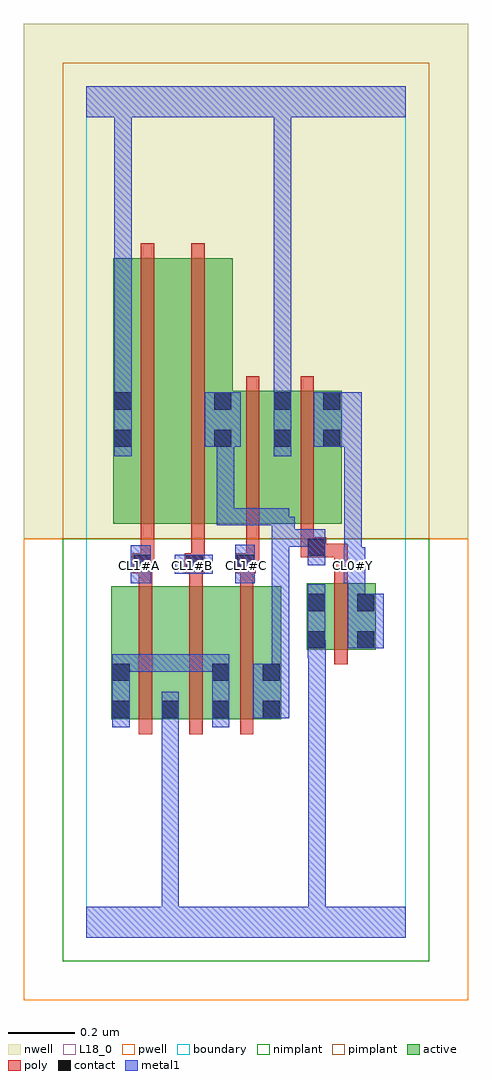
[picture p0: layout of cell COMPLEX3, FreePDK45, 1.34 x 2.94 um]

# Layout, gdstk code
import gdstk
lib = gdstk.Library(unit=1e-6, precision=1e-09)
def R(c, l, rs):  # rectangles x0, y0, x1, y1
    for r in rs: c.add(gdstk.rectangle(r[:2], r[2:], *l))
def A(c, l, x, y, w, h, nx, ny, dx, dy):  # array of equal rectangles
    R(c, l, [(x+i*dx, y+j*dy, x+i*dx+w, y+j*dy+h) for i in range(nx) for j in range(ny)])
active = (1, 0)
pwell = (2, 0)
nwell = (3, 0)
nimplant = (4, 0)
pimplant = (5, 0)
poly = (9, 0)
contact = (10, 0)
metal1 = (11, 0)
L18_0 = (18, 0)
boundary = (235, 0)

complex3 = lib.new_cell('COMPLEX3')
R(complex3, active, [(0.074,0.656,0.134,1.056), (0.074,0.656,0.282,1.056), (0.222,0.656,0.434,1.056), (0.222,0.656,0.282,0.716), (0.374,0.656,0.586,1.056), (0.374,0.656,0.434,0.828), (0.526,0.656,0.586,1.056), (0.662,0.866,0.722,1.066), (0.662,0.866,0.87,1.066), (0.81,0.866,0.87,1.066), (0.08,1.244,0.26,2.044), (0.08,1.244,0.14,2.044), (0.26,1.244,0.44,2.044), (0.38,1.244,0.44,1.644), (0.38,1.244,0.62,1.644), (0.56,1.244,0.62,1.644), (0.56,1.244,0.768,1.644), (0.708,1.244,0.768,1.644)])
R(complex3, pwell, [(-0.188,-0.188,1.148,1.2)])
R(complex3, nwell, [(-0.188,1.2,1.148,2.748)])
R(complex3, nimplant, [(-0.072,-0.072,1.032,1.2)])
R(complex3, pimplant, [(-0.072,1.2,1.032,2.632)])
A(complex3, poly, 0.158, 0.612, 0.04, 0.488, 3, 1, 0.152, 0)
A(complex3, poly, 0.158, 1.06, 0.04, 0.076, 3, 1, 0.152, 0)
R(complex3, poly, [(0.746,0.822,0.786,1.11), (0.746,1.07,0.786,1.184), (0.138,1.096,0.198,1.156), (0.296,1.096,0.356,1.156), (0.45,1.096,0.51,1.156), (0.158,1.116,0.198,1.156), (0.158,1.116,0.204,1.156), (0.164,1.116,0.204,1.24), (0.316,1.116,0.356,1.156), (0.316,1.116,0.356,1.156), (0.316,1.116,0.356,1.24), (0.47,1.116,0.51,1.156), (0.47,1.116,0.52,1.156), (0.48,1.116,0.52,1.24), (0.644,1.144,0.722,1.204), (0.682,1.144,0.722,1.184), (0.682,1.144,0.786,1.184), (0.644,1.164,0.684,1.24), (0.164,1.2,0.204,2.088), (0.316,1.2,0.356,2.088), (0.48,1.2,0.52,1.688), (0.644,1.2,0.684,1.688)])
A(complex3, contact, 0.226, 0.66, 0.052, 0.052, 3, 1, 0.152, 0)
R(complex3, contact, [(0.078,0.66,0.13,0.712), (0.078,0.772,0.13,0.824), (0.378,0.772,0.43,0.824), (0.53,0.772,0.582,0.824), (0.666,0.87,0.718,0.922), (0.814,0.87,0.866,0.922), (0.666,0.982,0.718,1.034), (0.814,0.982,0.866,1.034), (0.142,1.1,0.194,1.152), (0.3,1.1,0.352,1.152), (0.454,1.1,0.506,1.152), (0.666,1.148,0.718,1.2), (0.084,1.476,0.136,1.528), (0.384,1.476,0.436,1.528), (0.564,1.476,0.616,1.528), (0.712,1.476,0.764,1.528), (0.084,1.588,0.136,1.64), (0.384,1.588,0.436,1.64), (0.564,1.588,0.616,1.64), (0.712,1.588,0.764,1.64)])
R(complex3, metal1, [(0,0,0.96,0.092), (0.226,0.04,0.278,0.092), (0.226,0.04,0.278,0.092), (0.226,0.04,0.278,0.684), (0.668,0.04,0.72,0.092), (0.668,0.04,0.72,0.092), (0.668,0.04,0.72,0.092), (0.668,0.04,0.72,0.092), (0.668,0.04,0.72,0.092), (0.668,0.04,0.72,0.092), (0.668,0.04,0.72,0.092), (0.668,0.04,0.72,0.092), (0.668,0.04,0.72,0.092), (0.668,0.04,0.72,0.092), (0.668,0.04,0.72,0.092), (0.668,0.04,0.72,0.092), (0.668,0.04,0.72,0.894), (0.078,0.632,0.13,0.852), (0.226,0.632,0.278,0.684), (0.226,0.632,0.278,0.684), (0.226,0.632,0.278,0.684), (0.226,0.632,0.278,0.684), (0.226,0.632,0.278,0.684), (0.226,0.632,0.278,0.684), (0.226,0.632,0.278,0.684), (0.226,0.632,0.278,0.684), (0.226,0.632,0.278,0.684), (0.226,0.632,0.278,0.684), (0.226,0.632,0.278,0.74), (0.378,0.632,0.43,0.852), (0.502,0.66,0.61,0.824), (0.558,0.772,0.61,1.266), (0.078,0.8,0.13,0.852), (0.078,0.8,0.13,0.852), (0.078,0.8,0.298,0.852), (0.246,0.8,0.298,0.852), (0.246,0.8,0.298,0.852), (0.246,0.8,0.298,0.852), (0.246,0.8,0.43,0.852), (0.666,0.842,0.718,0.894), (0.666,0.842,0.718,1.062), (0.666,0.842,0.72,0.894), (0.668,0.842,0.72,0.894), (0.668,0.842,0.72,0.894), (0.786,0.87,0.894,1.034), (0.786,0.982,0.838,1.118), (0.134,1.066,0.194,1.18), (0.448,1.066,0.506,1.182), (0.774,1.066,0.838,1.174), (0.266,1.094,0.38,1.152), (0.666,1.12,0.718,1.228), (0.776,1.122,0.828,1.528), (0.574,1.176,0.718,1.228), (0.574,1.176,0.626,1.266), (0.558,1.214,0.61,1.266), (0.558,1.214,0.61,1.266), (0.558,1.214,0.626,1.266), (0.558,1.214,0.61,1.292), (0.392,1.24,0.444,1.292), (0.392,1.24,0.444,1.292), (0.392,1.24,0.444,1.292), (0.392,1.24,0.61,1.292), (0.392,1.24,0.444,1.528), (0.084,1.448,0.136,1.668), (0.564,1.448,0.616,1.668), (0.356,1.476,0.464,1.64), (0.684,1.476,0.828,1.64), (0.776,1.476,0.828,1.528), (0.776,1.476,0.828,1.528), (0.084,1.616,0.136,2.52), (0.564,1.616,0.616,1.668), (0.564,1.616,0.616,1.668), (0.564,1.616,0.616,2.52), (0,2.468,0.96,2.56), (0.084,2.468,0.136,2.52), (0.084,2.468,0.136,2.52), (0.084,2.468,0.136,2.52), (0.084,2.468,0.136,2.52), (0.084,2.468,0.136,2.52), (0.084,2.468,0.136,2.52), (0.084,2.468,0.136,2.52), (0.084,2.468,0.136,2.52), (0.564,2.468,0.616,2.52), (0.564,2.468,0.616,2.52), (0.564,2.468,0.616,2.52), (0.564,2.468,0.616,2.52), (0.564,2.468,0.616,2.52), (0.564,2.468,0.616,2.52), (0.564,2.468,0.616,2.52), (0.564,2.468,0.616,2.52), (0.564,2.468,0.616,2.52), (0.564,2.468,0.616,2.52), (0.564,2.468,0.616,2.52), (0.564,2.468,0.616,2.52), (0.564,2.468,0.616,2.52), (0.564,2.468,0.616,2.52)])
A(complex3, L18_0, 0.134, 1.094, 0.052, 0.052, 3, 1, 0.16, 0)
R(complex3, L18_0, [(0,0,0.96,0.092), (0.226,0.04,0.278,0.092), (0.226,0.04,0.278,0.092), (0.226,0.04,0.278,0.684), (0.668,0.04,0.72,0.092), (0.668,0.04,0.72,0.092), (0.668,0.04,0.72,0.092), (0.668,0.04,0.72,0.092), (0.668,0.04,0.72,0.092), (0.668,0.04,0.72,0.092), (0.668,0.04,0.72,0.092), (0.668,0.04,0.72,0.092), (0.668,0.04,0.72,0.092), (0.668,0.04,0.72,0.092), (0.668,0.04,0.72,0.092), (0.668,0.04,0.72,0.092), (0.668,0.04,0.72,0.894), (0.226,0.632,0.278,0.684), (0.226,0.632,0.278,0.684), (0.226,0.632,0.278,0.684), (0.226,0.632,0.278,0.684), (0.226,0.632,0.278,0.684), (0.226,0.632,0.278,0.684), (0.226,0.632,0.278,0.684), (0.226,0.632,0.278,0.684), (0.226,0.632,0.278,0.684), (0.226,0.632,0.278,0.684), (0.226,0.632,0.278,0.74), (0.666,0.842,0.718,1.062), (0.666,0.842,0.718,0.894), (0.666,0.842,0.72,0.894), (0.668,0.842,0.72,0.894), (0.668,0.842,0.72,0.894), (0.786,0.87,0.894,1.034), (0.786,0.982,0.838,1.118), (0.134,1.066,0.194,1.18), (0.448,1.066,0.506,1.182), (0.774,1.066,0.838,1.174), (0.266,1.094,0.38,1.152), (0.774,1.094,0.826,1.146), (0.776,1.122,0.828,1.528), (0.084,1.448,0.136,1.668), (0.564,1.448,0.616,1.668), (0.684,1.476,0.828,1.64), (0.776,1.476,0.828,1.528), (0.776,1.476,0.828,1.528), (0.084,1.616,0.136,2.52), (0.564,1.616,0.616,1.668), (0.564,1.616,0.616,1.668), (0.564,1.616,0.616,2.52), (0,2.468,0.96,2.56), (0.084,2.468,0.136,2.52), (0.084,2.468,0.136,2.52), (0.084,2.468,0.136,2.52), (0.084,2.468,0.136,2.52), (0.084,2.468,0.136,2.52), (0.084,2.468,0.136,2.52), (0.084,2.468,0.136,2.52), (0.084,2.468,0.136,2.52), (0.564,2.468,0.616,2.52), (0.564,2.468,0.616,2.52), (0.564,2.468,0.616,2.52), (0.564,2.468,0.616,2.52), (0.564,2.468,0.616,2.52), (0.564,2.468,0.616,2.52), (0.564,2.468,0.616,2.52), (0.564,2.468,0.616,2.52), (0.564,2.468,0.616,2.52), (0.564,2.468,0.616,2.52), (0.564,2.468,0.616,2.52), (0.564,2.468,0.616,2.52), (0.564,2.468,0.616,2.52), (0.564,2.468,0.616,2.52)])
R(complex3, boundary, [(0,0,0.96,2.56)])
complex3.add(gdstk.Label('CL0#Y', (0.8,1.12), layer=11, texttype=0))
complex3.add(gdstk.Label('CL1#A', (0.16,1.12), layer=11, texttype=0))
complex3.add(gdstk.Label('CL1#B', (0.32,1.12), layer=11, texttype=0))
complex3.add(gdstk.Label('CL1#C', (0.48,1.12), layer=11, texttype=0))

lib.write_gds('COMPLEX3.gds')
